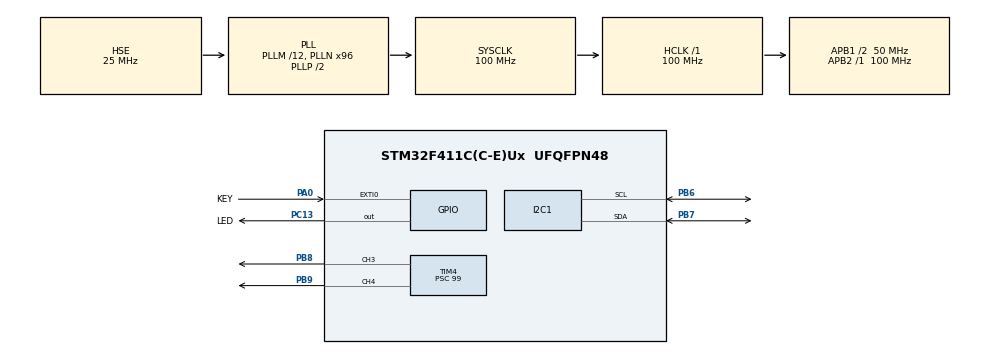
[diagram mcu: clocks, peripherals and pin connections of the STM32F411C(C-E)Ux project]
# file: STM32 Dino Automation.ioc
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I2C1.I2C_Mode=I2C_Fast
Mcu.Family=STM32F4
Mcu.Name=STM32F411C(C-E)Ux
Mcu.Package=UFQFPN48
NVIC.EXTI0_IRQn=true\:0\:0\:false\:false\:true\:true\:true\:true
NVIC.PriorityGroup=NVIC_PRIORITYGROUP_4
PA0-WKUP.GPIO_Label=KEY
PA0-WKUP.GPIO_ModeDefaultEXTI=GPIO_MODE_IT_FALLING
PA0-WKUP.GPIO_PuPd=GPIO_PULLUP
PA0-WKUP.Signal=GPXTI0
PA13.Mode=Serial_Wire
PA13.Signal=SYS_JTMS-SWDIO
PA14.Mode=Serial_Wire
PA14.Signal=SYS_JTCK-SWCLK
PB6.Mode=I2C
PB6.Signal=I2C1_SCL
PB7.Mode=I2C
PB7.Signal=I2C1_SDA
PB8.Signal=S_TIM4_CH3
PB9.Signal=S_TIM4_CH4
PC13-ANTI_TAMP.GPIO_Label=LED
PC13-ANTI_TAMP.Signal=GPIO_Output
PH0\ -\ OSC_IN.Mode=HSE-External-Oscillator
PH0\ -\ OSC_IN.Signal=RCC_OSC_IN
PH1\ -\ OSC_OUT.Mode=HSE-External-Oscillator
PH1\ -\ OSC_OUT.Signal=RCC_OSC_OUT
ProjectManager.HeapSize=0x200
ProjectManager.StackSize=0x400
ProjectManager.TargetToolchain=STM32CubeIDE
RCC.48MHZClocksFreq_Value=50000000
RCC.AHBFreq_Value=100000000
RCC.APB1CLKDivider=RCC_HCLK_DIV2
RCC.APB1Freq_Value=50000000
RCC.APB1TimFreq_Value=100000000
RCC.APB2Freq_Value=100000000
RCC.APB2TimFreq_Value=100000000
RCC.CortexFreq_Value=100000000
RCC.HCLKFreq_Value=100000000
RCC.HSE_VALUE=25000000
RCC.HSI_VALUE=16000000
RCC.LSE_VALUE=32768
RCC.PLLM=12
RCC.PLLN=96
RCC.PLLSourceVirtual=RCC_PLLSOURCE_HSE
RCC.SYSCLKFreq_VALUE=100000000
RCC.SYSCLKSource=RCC_SYSCLKSOURCE_PLLCLK
RCC.VCOOutputFreq_Value=200000000
SH.S_TIM4_CH3.0=TIM4_CH3,PWM Generation3 CH3
SH.S_TIM4_CH4.0=TIM4_CH4,PWM Generation4 CH4
TIM4.Channel-PWM\ Generation3\ CH3=TIM_CHANNEL_3
TIM4.Channel-PWM\ Generation4\ CH4=TIM_CHANNEL_4
TIM4.Period=19999
TIM4.Prescaler=99
VP_TIM4_VS_ClockSourceINT.Mode=Internal
board=custom

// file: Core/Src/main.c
/* USER CODE BEGIN Header */
// STM32 Dino automation - ENGS 251 project
/**
  ******************************************************************************
  * @file           : main.c
  * @brief          : Main program body
  ******************************************************************************
  * @attention
  *
  * Copyright (c) 2026 STMicroelectronics.
  * All rights reserved.
  *
  * This software is licensed under terms that can be found in the LICENSE file
  * in the root directory of this software component.
  * If no LICENSE file comes with this software, it is provided AS-IS.
  *
  ******************************************************************************
  */
/* USER CODE END Header */
#include "main.h"

/* USER CODE BEGIN Includes */
#include <stdio.h>
#include "ssd1306.h"
#include "ssd1306_fonts.h"
/* USER CODE END Includes */

I2C_HandleTypeDef hi2c1;

TIM_HandleTypeDef htim4;

/* USER CODE BEGIN PV */
volatile uint8_t mode = 0; // 0 = Auto, 1 = Guitar
uint8_t oldMode = 0;
uint32_t lastPress = 0;
uint32_t lastBlink = 0;

// Jump Servo PB8
uint16_t jumpRest = 1500;
uint16_t jumpPress = 1800;
uint8_t jumpPressed = 0;
uint32_t jumpTime = 0;

// Duck Servo PB9
uint16_t duckRest = 1500;
uint16_t duckPress = 1800;
uint8_t duckPressed = 0;
uint32_t duckTime = 0;

// Test
uint32_t lastTest = 0;
uint8_t nextServo = 1;

// Screen
uint16_t jumps = 0;
uint16_t ducks = 0;
uint8_t updateScreen = 1;
char text[20];
/* USER CODE END PV */

void SystemClock_Config(void);
static void MX_GPIO_Init(void);
static void MX_TIM4_Init(void);
static void MX_I2C1_Init(void);

int main(void)
{

  /* MCU Configuration--------------------------------------------------------*/

  /* Reset of all peripherals, Initializes the Flash interface and the Systick. */
  HAL_Init();

  /* Configure the system clock */
  SystemClock_Config();

  /* Initialize all configured peripherals */
  MX_GPIO_Init();
  MX_TIM4_Init();
  MX_I2C1_Init();
  /* USER CODE BEGIN 2 */

  HAL_TIM_PWM_Start(&htim4, TIM_CHANNEL_3); // jump servo
  HAL_TIM_PWM_Start(&htim4, TIM_CHANNEL_4); // duck servo
  TIM4->CCR3 = jumpRest;
  TIM4->CCR4 = duckRest;

  ssd1306_Init();

  /* USER CODE END 2 */

  /* Infinite loop */
  while (1)
  {

    /* USER CODE BEGIN 3 */
	  if (HAL_GetTick() - lastBlink >= (mode ? 100 : 500)) // Auto mode : slow, Guitar mode : fast
	  {
		  lastBlink = HAL_GetTick();
		  HAL_GPIO_TogglePin(LED_GPIO_Port, LED_Pin);
	  }

	  // Test if mode has been changed

	  if (mode != oldMode)
	  {
		  if (mode == 1)
		  {
			  jumps = 0;
			  ducks = 0;
			  updateScreen = 1;
		  }
		  oldMode = mode;
	  }

	  // Test in guitar mode each servo presses every 500ms taking turns
	  if (mode == 1 && HAL_GetTick() - lastTest > 500)
	  {
		  if (nextServo == 1)
		  {
			  TIM4->CCR3 = jumpPress;
			  jumpPressed = 1;
			  jumpTime = HAL_GetTick();
			  nextServo = 2;
			  jumps++;
			  updateScreen = 1;
		  }
		  else
		  {
			  TIM4->CCR4 = duckPress;
			  duckPressed = 1;
			  duckTime = HAL_GetTick();
			  nextServo = 1;
			  ducks++;
			  updateScreen = 1;
		  }
		  lastTest = HAL_GetTick();
	  }

	  // Release jump after 200 ms
	  if (jumpPressed == 1 && HAL_GetTick() - jumpTime > 200)
	  {
		  TIM4->CCR3 = jumpRest;
		  jumpPressed = 0;
	  }

	  // Release duck after 300 ms
	  if (duckPressed == 1 && HAL_GetTick() - duckTime > 300)
	  {
		  TIM4->CCR4 = duckRest;
		  duckPressed = 0;
	  }

	  // Redraw the screen
	  if (updateScreen == 1)
	  {
		  ssd1306_Fill(Black);

		  sprintf(text, "Jumps: %d", jumps);
		  ssd1306_SetCursor(0, 10);
		  ssd1306_WriteString(text, Font_11x18, White);

		  sprintf(text, "Ducks: %d", ducks);
		  ssd1306_SetCursor(0, 36);
		  ssd1306_WriteString(text, Font_11x18, White);

		  ssd1306_UpdateScreen();
		  updateScreen = 0;
	  }

  }
  /* USER CODE END 3 */
}

void SystemClock_Config(void)
{
  RCC_OscInitTypeDef RCC_OscInitStruct = {0};
  RCC_ClkInitTypeDef RCC_ClkInitStruct = {0};

  /** Configure the main internal regulator output voltage
  */
  __HAL_RCC_PWR_CLK_ENABLE();
  __HAL_PWR_VOLTAGESCALING_CONFIG(PWR_REGULATOR_VOLTAGE_SCALE1);

  /** Initializes the RCC Oscillators according to the specified parameters
  * in the RCC_OscInitTypeDef structure.
  */
  RCC_OscInitStruct.OscillatorType = RCC_OSCILLATORTYPE_HSE;
  RCC_OscInitStruct.HSEState = RCC_HSE_ON;
  RCC_OscInitStruct.PLL.PLLState = RCC_PLL_ON;
  RCC_OscInitStruct.PLL.PLLSource = RCC_PLLSOURCE_HSE;
  RCC_OscInitStruct.PLL.PLLM = 12;
  RCC_OscInitStruct.PLL.PLLN = 96;
  RCC_OscInitStruct.PLL.PLLP = RCC_PLLP_DIV2;
  RCC_OscInitStruct.PLL.PLLQ = 4;
  if (HAL_RCC_OscConfig(&RCC_OscInitStruct) != HAL_OK)
  {
    Error_Handler();
  }

  /** Initializes the CPU, AHB and APB buses clocks
  */
  RCC_ClkInitStruct.ClockType = RCC_CLOCKTYPE_HCLK|RCC_CLOCKTYPE_SYSCLK
                              |RCC_CLOCKTYPE_PCLK1|RCC_CLOCKTYPE_PCLK2;
  RCC_ClkInitStruct.SYSCLKSource = RCC_SYSCLKSOURCE_PLLCLK;
  RCC_ClkInitStruct.AHBCLKDivider = RCC_SYSCLK_DIV1;
  RCC_ClkInitStruct.APB1CLKDivider = RCC_HCLK_DIV2;
  RCC_ClkInitStruct.APB2CLKDivider = RCC_HCLK_DIV1;

  if (HAL_RCC_ClockConfig(&RCC_ClkInitStruct, FLASH_LATENCY_3) != HAL_OK)
  {
    Error_Handler();
  }
}

static void MX_I2C1_Init(void)
{

  hi2c1.Instance = I2C1;
  hi2c1.Init.ClockSpeed = 400000;
  hi2c1.Init.DutyCycle = I2C_DUTYCYCLE_2;
  hi2c1.Init.OwnAddress1 = 0;
  hi2c1.Init.AddressingMode = I2C_ADDRESSINGMODE_7BIT;
  hi2c1.Init.DualAddressMode = I2C_DUALADDRESS_DISABLE;
  hi2c1.Init.OwnAddress2 = 0;
  hi2c1.Init.GeneralCallMode = I2C_GENERALCALL_DISABLE;
  hi2c1.Init.NoStretchMode = I2C_NOSTRETCH_DISABLE;
  if (HAL_I2C_Init(&hi2c1) != HAL_OK)
  {
    Error_Handler();
  }

}

static void MX_TIM4_Init(void)
{

  TIM_ClockConfigTypeDef sClockSourceConfig = {0};
  TIM_MasterConfigTypeDef sMasterConfig = {0};
  TIM_OC_InitTypeDef sConfigOC = {0};

  htim4.Instance = TIM4;
  htim4.Init.Prescaler = 99;
  htim4.Init.CounterMode = TIM_COUNTERMODE_UP;
  htim4.Init.Period = 19999;
  htim4.Init.ClockDivision = TIM_CLOCKDIVISION_DIV1;
  htim4.Init.AutoReloadPreload = TIM_AUTORELOAD_PRELOAD_DISABLE;
  if (HAL_TIM_Base_Init(&htim4) != HAL_OK)
  {
    Error_Handler();
  }
  sClockSourceConfig.ClockSource = TIM_CLOCKSOURCE_INTERNAL;
  if (HAL_TIM_ConfigClockSource(&htim4, &sClockSourceConfig) != HAL_OK)
  {
    Error_Handler();
  }
  if (HAL_TIM_PWM_Init(&htim4) != HAL_OK)
  {
    Error_Handler();
  }
  sMasterConfig.MasterOutputTrigger = TIM_TRGO_RESET;
  sMasterConfig.MasterSlaveMode = TIM_MASTERSLAVEMODE_DISABLE;
  if (HAL_TIMEx_MasterConfigSynchronization(&htim4, &sMasterConfig) != HAL_OK)
  {
    Error_Handler();
  }
  sConfigOC.OCMode = TIM_OCMODE_PWM1;
  sConfigOC.Pulse = 0;
  sConfigOC.OCPolarity = TIM_OCPOLARITY_HIGH;
  sConfigOC.OCFastMode = TIM_OCFAST_DISABLE;
  if (HAL_TIM_PWM_ConfigChannel(&htim4, &sConfigOC, TIM_CHANNEL_3) != HAL_OK)
  {
    Error_Handler();
  }
  if (HAL_TIM_PWM_ConfigChannel(&htim4, &sConfigOC, TIM_CHANNEL_4) != HAL_OK)
  {
    Error_Handler();
  }
  HAL_TIM_MspPostInit(&htim4);

}

static void MX_GPIO_Init(void)
{
  GPIO_InitTypeDef GPIO_InitStruct = {0};

  /* GPIO Ports Clock Enable */
  __HAL_RCC_GPIOC_CLK_ENABLE();
  __HAL_RCC_GPIOH_CLK_ENABLE();
  __HAL_RCC_GPIOA_CLK_ENABLE();
  __HAL_RCC_GPIOB_CLK_ENABLE();

  /*Configure GPIO pin Output Level */
  HAL_GPIO_WritePin(LED_GPIO_Port, LED_Pin, GPIO_PIN_RESET);

  /*Configure GPIO pin : LED_Pin */
  GPIO_InitStruct.Pin = LED_Pin;
  GPIO_InitStruct.Mode = GPIO_MODE_OUTPUT_PP;
  GPIO_InitStruct.Pull = GPIO_NOPULL;
  GPIO_InitStruct.Speed = GPIO_SPEED_FREQ_LOW;
  HAL_GPIO_Init(LED_GPIO_Port, &GPIO_InitStruct);

  /*Configure GPIO pin : KEY_Pin */
  GPIO_InitStruct.Pin = KEY_Pin;
  GPIO_InitStruct.Mode = GPIO_MODE_IT_FALLING;
  GPIO_InitStruct.Pull = GPIO_PULLUP;
  HAL_GPIO_Init(KEY_GPIO_Port, &GPIO_InitStruct);

  /* EXTI interrupt init*/
  HAL_NVIC_SetPriority(EXTI0_IRQn, 0, 0);
  HAL_NVIC_EnableIRQ(EXTI0_IRQn);

}

/* USER CODE BEGIN 4 */
void HAL_GPIO_EXTI_Callback(uint16_t GPIO_Pin)
{
	if (GPIO_Pin == KEY_Pin && HAL_GetTick() - lastPress > 200)
	{
		lastPress = HAL_GetTick();
		mode = !mode;
	}
}
/* USER CODE END 4 */

void Error_Handler(void)
{
  __disable_irq();
  while (1)
  {
  }
}
